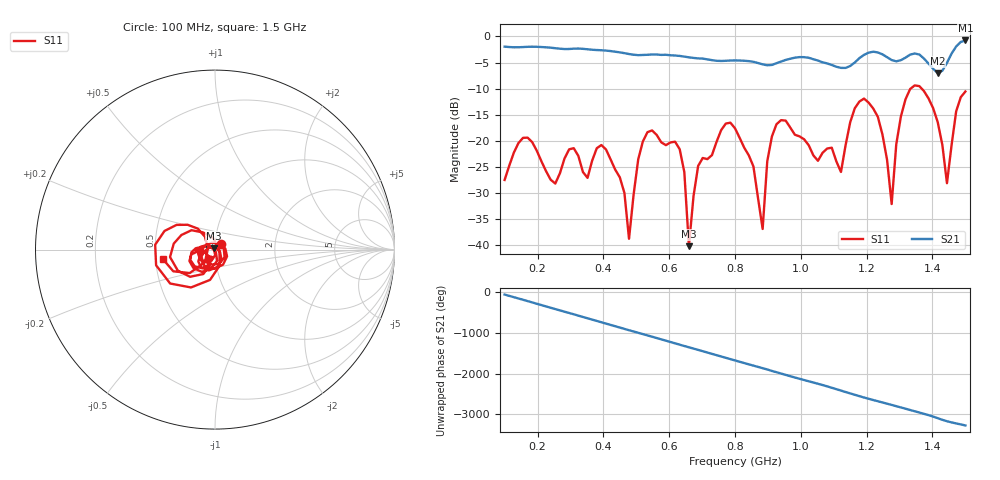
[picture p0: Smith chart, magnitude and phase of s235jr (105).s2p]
! NanoVNA-App
! Date: 2025-09-25 15:04:59
! Start: 100MHz Stop: 1,5GHz Points: 101
! S-Parameter data: F S11 S21 S12 S22
# Hz S RI R 50
!  Frequency  S11_Real  S11_Imag  S21_Real  S21_Imag  S12_Real  S12_Imag  S22_Real  S22_Imag
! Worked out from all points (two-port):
!   101 points, 100 MHz to 1.5 GHz, reference 50 ohm
!   highest |S21| = -0.78 dB at 1.5 GHz (marker M1); lowest = -7.0 dB at 1.416 GHz (marker M2)
!   |S21| within 3 dB of the highest: start of sweep to 636.3 MHz; 1.187 GHz to 1.257 GHz (70.26 MHz wide, 5.75 % of centre) (the widest 2 of 4)
!   lowest |S11| = -40.2 dB at 660 MHz (marker M3), VSWR 1.02, Z = 49.3 + j0.653 ohm
!   |S11| at or under -10 dB: start of sweep to 1.334 GHz; 1.367 GHz to end of sweep
!   S12 and S22 are empty: the file has one direction only
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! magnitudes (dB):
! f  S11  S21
! 100 MHz  -27.5  -2.0
! 156 MHz  -19.4  -2.0
! 338 MHz  -26.0  -2.4
! 408 MHz  -21.6  -2.7
! 478 MHz  -38.7  -3.4
! 520 MHz  -20.1  -3.6
! 576 MHz  -20.3  -3.5
! 632 MHz  -21.6  -3.7
! 660 MHz  -40.2  -4.0
! 688 MHz  -24.8  -4.2
! 800 MHz  -17.6  -4.6
! 884 MHz  -36.9  -5.4
! 926 MHz  -16.8  -5.1
! 1.038 GHz  -22.8  -4.4
! 1.122 GHz  -26.0  -6.0
! 1.192 GHz  -11.9  -3.5
! 1.234 GHz  -15.4  -3.1
! 1.276 GHz  -32.1  -4.5
! 1.332 GHz  -10.1  -3.5
! 1.416 GHz  -16.4  -7.0
! 1.444 GHz  -28.1  -5.1
! 1.5 GHz  -10.5  -0.8
